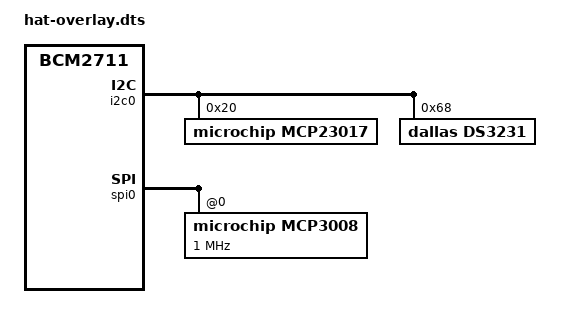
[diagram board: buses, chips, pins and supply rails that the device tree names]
/dts-v1/;

/ {
    compatible = "brcm,bcm2711";

    fragment@0 {
        target = <&i2c0>;
        __overlay__ {
            status = "okay";
            #address-cells = <1>;
            #size-cells = <0>;

            mcp23017: mcp23017@20 {
                compatible = "microchip,mcp23017";
                reg = <0x20>;
                gpio-controller;
                #gpio-cells = <2>;
                interrupt-controller;
                #interrupt-cells = <2>;
            };

            ds3231: rtc@68 {
                compatible = "dallas,ds3231";
                reg = <0x68>;
            };
        };
    };

    fragment@1 {
        target = <&spi0>;
        __overlay__ {
            status = "ok";
            #address-cells = <1>;
            #size-cells = <0>;

            mcp3008: mcp3008@0 {
                compatible = "microchip,mcp3008";
                spi-max-frequency = <1000000>;
            };
        };
    };
};
